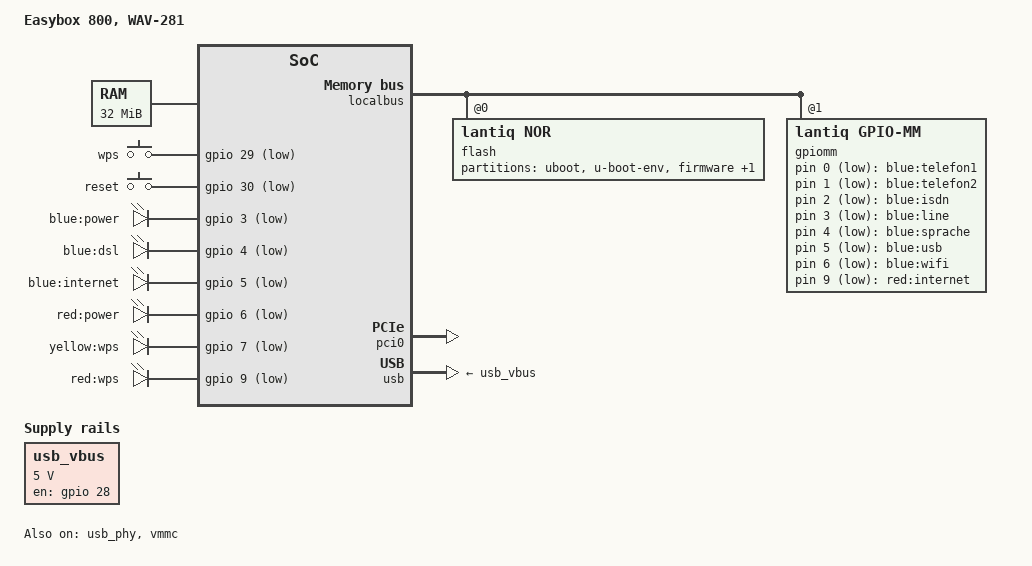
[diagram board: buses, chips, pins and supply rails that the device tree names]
#include "danube.dtsi"

#include <dt-bindings/input/input.h>

/ {
	compatible = "arcadyan,arv4520pw", "lantiq,xway", "lantiq,danube";
	model = "Easybox 800, WAV-281";

	chosen {
		bootargs = "console=ttyLTQ0,115200";
	};

	aliases {
		led-boot = &power_blue;
		led-failsafe = &power_red;
		led-running = &power_blue;
		led-upgrade = &power_blue;

		led-dsl = &dsl;
		led-internet = &internet_blue;
		led-usb = &led_usb;
		led-wifi = &wifi;
	};

	memory@0 {
		device_type = "memory";
		reg = <0x0 0x2000000>;
	};

	keys {
		compatible = "gpio-keys-polled";
		poll-interval = <100>;

		rfkill {
			label = "wps";
			gpios = <&gpio 29 GPIO_ACTIVE_LOW>;
			linux,code = <KEY_WPS_BUTTON>;
		};
		reset {
			label = "reset";
			gpios = <&gpio 30 GPIO_ACTIVE_LOW>;
			linux,code = <KEY_RESTART>;
		};
	};

	leds {
		compatible = "gpio-leds";

		power_blue: power {
			label = "blue:power";
			gpios = <&gpio 3 GPIO_ACTIVE_LOW>;
			default-state = "keep";
		};
		dsl: dsl {
			label = "blue:dsl";
			gpios = <&gpio 4 GPIO_ACTIVE_LOW>;
		};
		internet_blue: internet {
			label = "blue:internet";
			gpios = <&gpio 5 GPIO_ACTIVE_LOW>;
		};
		power_red: power2 {
			label = "red:power";
			gpios = <&gpio 6 GPIO_ACTIVE_LOW>;
		};
		wps {
			label = "yellow:wps";
			gpios = <&gpio 7 GPIO_ACTIVE_LOW>;
		};
		wps2 {
			label = "red:wps";
			gpios = <&gpio 9 GPIO_ACTIVE_LOW>;
		};
		/*
			wps green is missing
		*/
		fxs1 {
			label = "blue:telefon1";
			gpios = <&gpiomm 0 GPIO_ACTIVE_LOW>;
		};
		fxs2 {
			label = "blue:telefon2";
			gpios = <&gpiomm 1 GPIO_ACTIVE_LOW>;
		};
		isdn {
			label = "blue:isdn";
			gpios = <&gpiomm 2 GPIO_ACTIVE_LOW>;
		};
		fxo {
			label = "blue:line";
			gpios = <&gpiomm 3 GPIO_ACTIVE_LOW>;
		};
		voice {
			label = "blue:sprache";
			gpios = <&gpiomm 4 GPIO_ACTIVE_LOW>;
		};
		led_usb: usb {
			label = "blue:usb";
			gpios = <&gpiomm 5 GPIO_ACTIVE_LOW>;
		};
		wifi: wifi {
			label = "blue:wifi";
			gpios = <&gpiomm 6 GPIO_ACTIVE_LOW>;
		};
		internet2 {
			label = "red:internet";
			gpios = <&gpiomm 9 GPIO_ACTIVE_LOW>;
		};
		/*
			info is missing
		*/
	};

	usb_vbus: regulator-usb-vbus {
		compatible = "regulator-fixed";

		regulator-name = "USB_VBUS";

		regulator-min-microvolt = <5000000>;
		regulator-max-microvolt = <5000000>;

		gpio = <&gpio 28 GPIO_ACTIVE_HIGH>;
		enable-active-high;
	};
};

&gpio {
	pinctrl-names = "default";
	pinctrl-0 = <&state_default>;

	state_default: pinmux {
		ebu {
			lantiq,groups = "ebu cs1";
			lantiq,function = "ebu";
		};
		pci_rst {
			lantiq,pins = "io21";
			lantiq,open-drain = <0>;
			lantiq,pull = <0>;
		};
	};
};

&gsw {
	/* gpiomm 10 - switch */
	phy-mode = "rmii";
	nvmem-cells = <&macaddr_boardconfig_16>;
	nvmem-cell-names = "mac-address";
};

&localbus {
	flash@0 {
		compatible = "lantiq,nor";
		bank-width = <2>;
		reg = <0 0x0 0x800000>;

		partitions {
			compatible = "fixed-partitions";
			#address-cells = <1>;
			#size-cells = <1>;

			partition@0 {
				label = "uboot";
				reg = <0x00000 0x20000>;
				read-only;
			};

			partition@20000 {
				label = "u-boot-env";
				reg = <0x20000 0x10000>;
				read-only;
			};

			partition@30000 {
				label = "firmware";
				reg = <0x30000 0x3c0000>;
			};

			boardconfig: partition@7f0000 {
				label = "boardconfig";
				reg = <0x3f0000 0x10000>;
				read-only;
			};
		};
	};

	gpiomm: gpio@1 {
		compatible = "lantiq,gpio-mm";
		reg = <1 0x0 0x10 >;
		#address-cells = <1>;
		#size-cells = <1>;
		#gpio-cells = <2>;
		gpio-controller;
		lantiq,shadow = <0x400>;
	};
};

&pci0 {
	status = "okay";

	pinctrl-0 = <&pci_gnt1_pins>, <&pci_req1_pins>;
	pinctrl-names = "default";

	lantiq,external-clock;
	gpio-reset = <&gpio 21 GPIO_ACTIVE_HIGH>;
};

&usb_phy {
	status = "okay";
};

&usb {
	status = "okay";
	vbus-supply = <&usb_vbus>;
};

&vmmc {
	status = "okay";
	gpios = <&gpio 31 GPIO_ACTIVE_HIGH
		&gpiomm 7 GPIO_ACTIVE_HIGH>;
};

&boardconfig {
	compatible = "nvmem-cells";
	#address-cells = <1>;
	#size-cells = <1>;

	macaddr_boardconfig_16: macaddr@16 {
		reg = <0x16 0x6>;
	};
};
